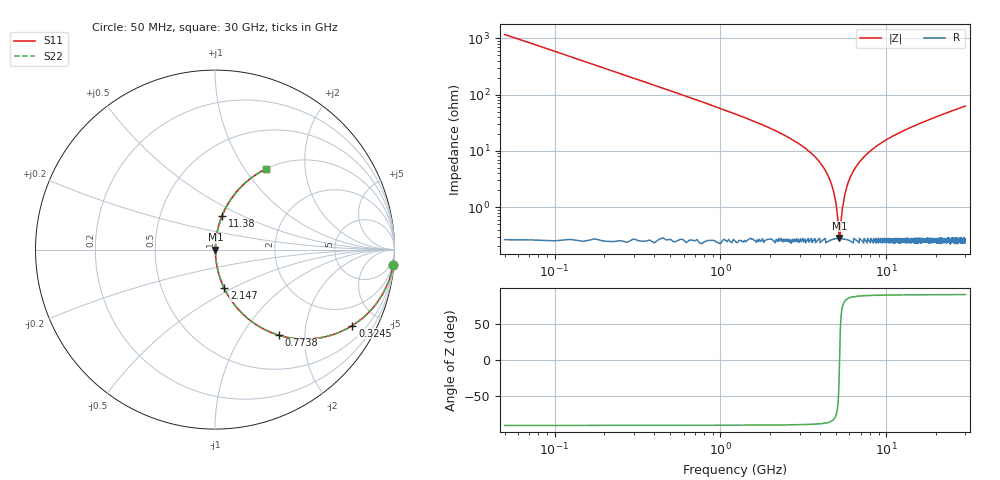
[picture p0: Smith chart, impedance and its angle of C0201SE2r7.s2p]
!	AVX Thin Film Operation 	Date: April 2014
!	Description: Accu-P® Series, Thin Film  SMD RF Capacitor
!	Part Number: 02013J2R7QBSTR
# MHZ S MA R 50
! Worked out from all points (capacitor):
!   1201 points, 50 MHz to 30 GHz, reference 50 ohm
!   read as one part in series: C = 2.7 pF near 199.8 MHz
!   lowest |Z| = 282 mohm at 5.216 GHz (marker M1)
!   series resonance near 5.227 GHz, so ESL is about 340 pH
!   S11 on the Smith chart (normalised r, x): 50 MHz: 1, -24; 324.5 MHz: 1.00, -3.62; 773.8 MHz: 1.00, -1.49; 2.147 GHz: 1.01, -0.46; 11.38 GHz: 1.01, +0.39; 30 GHz: 1.00, +1.26
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50  0.996 -4.8  0.085 85.1  0.085 85.1  0.996 -4.8
324.542  0.875 -28.9  0.483 61.0  0.483 61.0  0.875 -28.9
773.792  0.597 -53.2  0.801 36.6  0.801 36.6  0.597 -53.2
1297.917  0.391 -66.6  0.918 23.0  0.918 23.0  0.391 -66.6
2146.5  0.222 -76.5  0.973 12.8  0.973 12.8  0.222 -76.5
4218.042  0.049 -84.2  0.996 2.8  0.996 2.8  0.049 -84.2
4717.208  0.023 -82.4  0.997 1.3  0.997 1.3  0.023 -82.4
4891.917  0.015 -79.5  0.997 0.9  0.997 0.9  0.015 -79.5
5041.667  0.008501 -72.1  0.997 0.5  0.997 0.5  0.008501 -72.1
5141.5  0.004489 -55.3  0.997 0.2  0.997 0.2  0.004489 -55.3
5216.375  0.002582 -9.9  0.997 0.0  0.997 0.0  0.002582 -9.9
5316.208  0.004589 56.1  0.997 -0.2  0.997 -0.2  0.004589 56.1
5515.875  0.012 77.5  0.997 -0.7  0.997 -0.7  0.012 77.5
5740.5  0.021 81.9  0.997 -1.2  0.997 -1.2  0.021 81.9
6439.333  0.047 84.2  0.996 -2.7  0.996 -2.7  0.047 84.2
7837  0.093 83.1  0.993 -5.3  0.993 -5.3  0.093 83.1
10058.29  0.156 80.1  0.985 -9.0  0.985 -9.0  0.156 80.1
11381.08  0.19 78.3  0.979 -10.9  0.979 -10.9  0.19 78.3
15025  0.273 73.6  0.959 -15.9  0.959 -15.9  0.273 73.6
20016.67  0.373 67.8  0.926 -21.9  0.926 -21.9  0.373 67.8
25033.29  0.458 62.5  0.887 -27.3  0.887 -27.3  0.458 62.5
30000  0.531 57.7  0.845 -32.0  0.845 -32.0  0.531 57.7
